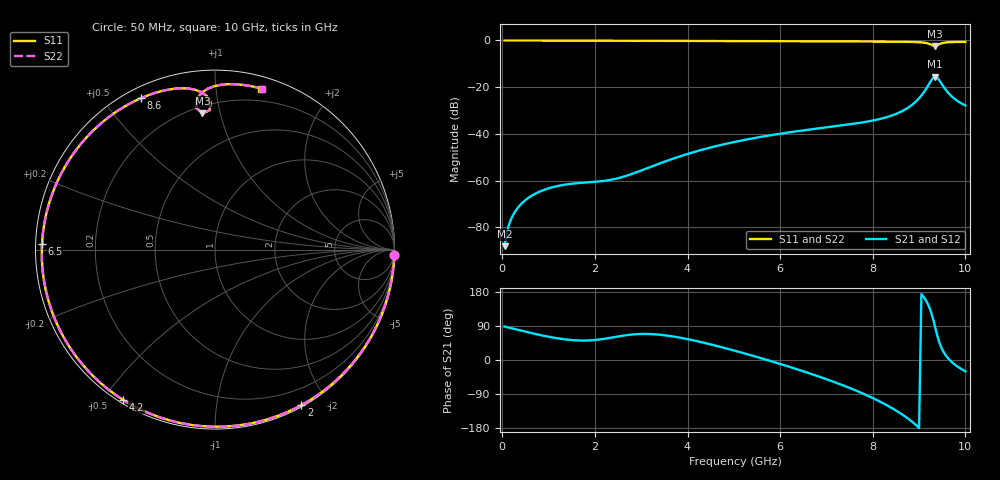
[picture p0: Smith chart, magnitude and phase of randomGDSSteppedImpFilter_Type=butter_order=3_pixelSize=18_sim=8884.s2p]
! freq	dB(S11)	phase(S11)	dB(S12)	phase(S12)
!  dB(S21)	phase(S21)	dB(S22)	phase(S22)
!S-par simulation data
#  GHz  S  DB  R 50
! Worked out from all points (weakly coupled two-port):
!   200 points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, 50 MHz to 10 GHz, reference 50 ohm
!   highest |S21| = -15.53 dB at 9.35 GHz (marker M1); lowest = -88.1 dB at 50 MHz (marker M2)
!   lowest |S11| = -2.4 dB at 9.35 GHz (marker M3), VSWR 7.41, Z = 12.2 + j44.1 ohm
!   |S11| at or under -10 dB: nowhere
!   |S22| runs from -2.3 to 0.0 dB; largest |S21 - S12| = 0
!   S11 on the Smith chart (normalised r, x): 50 MHz: 0, -72; 2 GHz: 0.02, -1.70; 4.2 GHz: 0.01, -0.56; 6.5 GHz: 0.02, +0.02; 8.6 GHz: 0.04, +0.62; 10 GHz: 0.09, +1.32
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0.05  -0.00 -1.6  -88.06 88.2  -88.06 88.2  -0.00 -1.6
0.1  -0.00 -3.2  -81.96 86.7  -81.96 86.7  -0.00 -3.2
0.35  -0.02 -11.0  -71.25 79.2  -71.25 79.2  -0.02 -11.0
0.65  -0.03 -20.3  -66.27 70.4  -66.27 70.4  -0.03 -20.3
1.1  -0.04 -34.1  -62.73 59.1  -62.73 59.1  -0.04 -34.1
1.75  -0.07 -53.6  -60.89 51.3  -60.89 51.3  -0.07 -53.6
2  -0.08 -60.9  -60.52 52.7  -60.52 52.7  -0.08 -61.0
2.55  -0.10 -76.7  -58.70 63.2  -58.70 63.2  -0.10 -76.8
3.4  -0.13 -100.2  -52.63 66.7  -52.63 66.7  -0.13 -100.2
4.2  -0.16 -121.5  -47.41 49.8  -47.41 49.8  -0.16 -121.5
5.05  -0.21 -143.6  -43.28 23.5  -43.28 23.5  -0.21 -143.7
6.5  -0.31 178.3  -38.49 -29.8  -38.49 -29.8  -0.31 178.2
6.7  -0.33 172.8  -37.97 -38.0  -37.97 -38.0  -0.33 172.7
7.55  -0.41 148.8  -35.77 -76.2  -35.77 -76.2  -0.41 148.7
8.35  -0.50 124.3  -32.53 -122.5  -32.53 -122.5  -0.50 124.2
8.6  -0.55 116.0  -30.58 -141.0  -30.58 -141.0  -0.55 116.0
8.95  -0.70 103.5  -25.77 -173.5  -25.77 -173.5  -0.70 103.4
9.25  -1.73 91.7  -17.48 129.7  -17.48 129.7  -1.73 91.6
9.35  -2.36 95.3  -15.53 85.0  -15.53 85.0  -2.35 95.2
9.45  -1.48 96.9  -17.46 42.0  -17.46 42.0  -1.47 96.8
9.6  -0.81 90.1  -21.72 8.3  -21.72 8.3  -0.81 90.0
10  -0.60 73.9  -27.84 -30.1  -27.84 -30.1  -0.60 73.8
